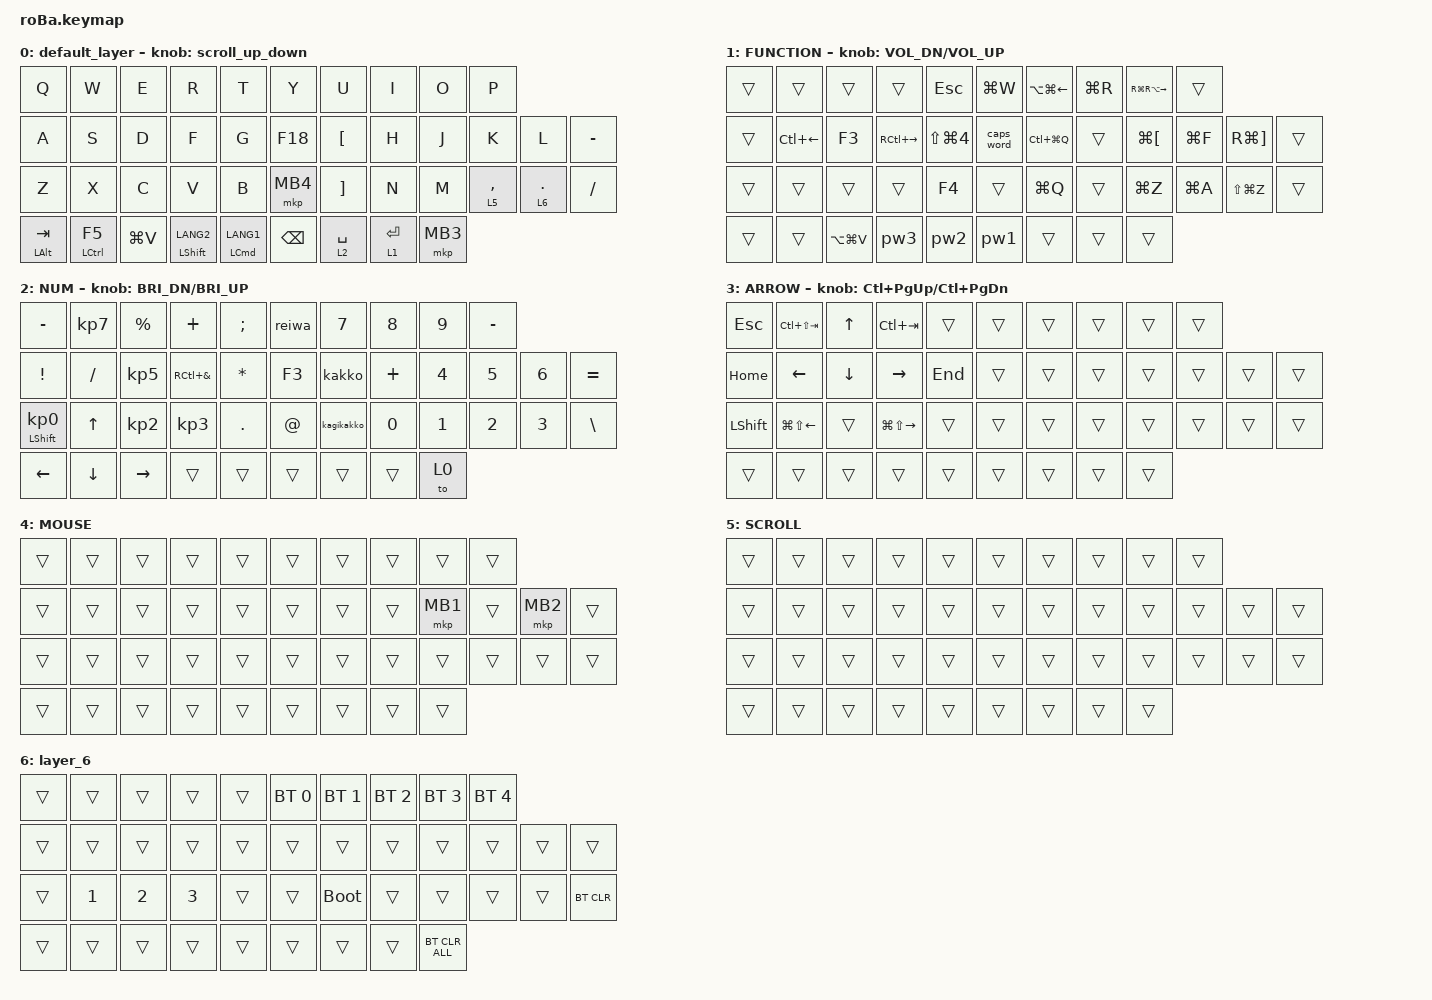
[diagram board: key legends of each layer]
#define ZMK_POINTING_DEFAULT_SCRL_VAL 100 //
#define MOUSE 4

#include <input/processors.dtsi>
#include <behaviors.dtsi>
#include <dt-bindings/zmk/bt.h>
#include <dt-bindings/zmk/keys.h>
#include <dt-bindings/zmk/pointing.h>

&mkp_input_listener { input-processors = <&zip_temp_layer 4 250>; };

#define SCROLL 5
#define NUM 6

&mt {
 flavor = "balanced";
 quick-tap-ms = <0>;
};

/ {
 combos {
   compatible = "zmk,combos";

   mouse_left_combo {
     timeout-ms = <45>;
     key-positions = <18 19>;
     layers = <0 4>;
     bindings = <&mkp MB1>;
     slow-release;
   };

   mouse_right_combo {
     timeout-ms = <45>;
     key-positions = <19 20>;
     layers = <0 4>;
     bindings = <&mkp MB2>;
     slow-release;
   };

   tab {
     bindings = <&kp TAB>;
     key-positions = <11 12>;
   };

   shift_tab {
     bindings = <&kp LS(TAB)>;
     key-positions = <12 13>;
   };

   muhennkann {
     bindings = <&kakko INT_MUHENKAN>;
     key-positions = <11 10>;
   };

   double_quotation {
     bindings = <&kp DOUBLE_QUOTES>;
     key-positions = <20 21>;
   };

   eq {
     bindings = <&kp EQUAL>;
     key-positions = <24 25>;
   };

   tesuto {
     bindings = <&kp C>;
     key-positions = <18 20>;
   };
 };

 macros {
   kakko: new_macro1 {
     compatible = "zmk,behavior-macro";
     #binding-cells = <0>;
     bindings = <&kp LANG1 &kp LEFT_BRACKET &kp RIGHT_BRACKET &kp RET &kp LEFT_ARROW>;
     label = "NEW_MACRO1";
   };

   kagikakko: new_macro2 {
     compatible = "zmk,behavior-macro";
     #binding-cells = <0>;
     bindings = <&kp LEFT_PARENTHESIS &kp RIGHT_PARENTHESIS &kp RET &kp LEFT_ARROW>;
     label = "NEW_MACRO2";
   };

   pw1: new_macro3 {
     compatible = "zmk,behavior-macro";
     #binding-cells = <0>;
     bindings = <&kp N &kp O &kp B &kp U &kp N6 &kp N9 &kp N5 &kp N7>;
     label = "NEW_MACRO3";
   };

   pw2: new_macro4 {
     compatible = "zmk,behavior-macro";
     #binding-cells = <0>;
     bindings = <&kp LS(B) &kp A &kp T &kp B &kp N3 &kp N3 &kp N5 &kp N5 &kp N3 &kp N3>;
     label = "NEW_MACRO4";
   };

   reiwa: new_macro {
     compatible = "zmk,behavior-macro";
     #binding-cells = <0>;
     bindings = <&kp LANG1 &kp R &kp E &kp I &kp W &kp A>;
     label = "NEW_MACRO";
   };

   pw3: pw3 {
     compatible = "zmk,behavior-macro";
     #binding-cells = <0>;
     bindings = <&kp LS(B) &kp A &kp T &kp B &kp N0 &kp NUMBER_2 &kp NUMBER_1 &kp NUMBER_1>;
     label = "PW3";
   };
 };

 behaviors {
   lt_to_layer_0: lt_to_layer_0 {
     compatible = "zmk,behavior-hold-tap";
     label = "LAYER_TAP_TO_0";
     bindings = <&mo>, <&kakko>;

     #binding-cells = <2>;
     tapping-term-ms = <200>;
   };

   // 追加: エンコーダの回転でスクロールする behavior

   scroll_up_down: behavior_sensor_rotate_mouse_wheel_up_down {
     compatible = "zmk,behavior-sensor-rotate";
     #sensor-binding-cells = <0>;
     bindings = <&msc SCRL_DOWN>, <&msc SCRL_UP>;

     tap-ms = <20>;
   };
 };

 keymap {
   compatible = "zmk,keymap";

   default_layer {
     bindings = <
&kp Q &kp W &kp E &kp R &kp T &kp Y &kp U &kp I &kp O &kp P
&kp A &kp S &kp D &kp F &kp G &kp F18 &kp LEFT_BRACKET &kp H &kp J &kp K &kp L &kp MINUS
&kp Z &kp X &kp C &kp V &kp B &mkp MB4 &kp RIGHT_BRACKET &kp N &kp M &lt 5 COMMA &lt 6 DOT &kp SLASH
&mt LEFT_ALT TAB &mt LEFT_CONTROL F5 &kp LG(V) &mt LEFT_SHIFT LANG2 &mt LEFT_COMMAND LANG1 &kp BACKSPACE &lt 2 SPACE &lt 1 RET &mkp MB3
     >;

     sensor-bindings = <&scroll_up_down>; // ← ここを変更
   };

   FUNCTION {
     bindings = <
&trans &trans &trans &trans &kp ESC &kp LG(W) &kp LA(LG(LEFT_ARROW)) &kp LG(R) &kp RG(RA(RIGHT_ARROW)) &trans
&trans &kp LC(LEFT_ARROW) &kp F3 &kp RC(RIGHT_ARROW) &kp LS(LG(NUMBER_4)) &caps_word &kp LC(LG(Q)) &trans &kp LG(LEFT_BRACKET) &kp LG(F) &kp RG(RIGHT_BRACKET) &trans
&trans &trans &trans &trans &kp F4 &trans &kp LG(Q) &trans &kp LG(Z) &kp LG(A) &kp LS(LG(Z)) &trans
&trans &trans &kp LA(LG(V)) &pw3 &pw2 &pw1 &trans &trans &trans
     >;

     sensor-bindings = <&inc_dec_kp C_VOL_DN C_VOL_UP>;
   };

   NUM {
     bindings = <
&kp MINUS &kp KP_NUMBER_7 &kp PERCENT &kp PLUS &kp SEMICOLON &reiwa &kp N7 &kp NUMBER_8 &kp NUMBER_9 &kp MINUS
&kp EXCL &kp SLASH &kp KP_NUMBER_5 &kp RC(AMPS) &kp ASTERISK &kp F3 &kakko &kp PLUS &kp NUMBER_4 &kp N5 &kp NUMBER_6 &kp EQUAL
&mt LEFT_SHIFT KP_NUMBER_0 &kp UP_ARROW &kp KP_NUMBER_2 &kp KP_NUMBER_3 &kp PERIOD &kp AT_SIGN &kagikakko &kp NUMBER_0 &kp NUMBER_1 &kp NUMBER_2 &kp NUMBER_3 &kp BACKSLASH
&kp LEFT_ARROW &kp DOWN_ARROW &kp RIGHT_ARROW &trans &trans &trans &trans &trans &to 0
     >;

     sensor-bindings = <&inc_dec_kp C_BRI_DN C_BRI_UP>;
   };

   ARROW {
     bindings = <
&kp ESCAPE &kp LC(LS(TAB)) &kp UP_ARROW &kp LC(TAB) &trans &trans &trans &trans &trans &trans
&kp HOME &kp LEFT_ARROW &kp DOWN_ARROW &kp RIGHT_ARROW &kp END &trans &trans &trans &trans &trans &trans &trans
&kp LEFT_SHIFT &kp LG(LS(LEFT_ARROW)) &trans &kp LG(LS(RIGHT_ARROW)) &trans &trans &trans &trans &trans &trans &trans &trans
&trans &trans &trans &trans &trans &trans &trans &trans &trans
     >;

     sensor-bindings = <&inc_dec_kp LC(PAGE_UP) LC(PAGE_DOWN)>;
   };

   MOUSE {
     bindings = <
&trans &trans &trans &trans &trans &trans &trans &trans &trans &trans
&trans &trans &trans &trans &trans &trans &trans &trans &mkp MB1 &trans &mkp MB2 &trans
&trans &trans &trans &trans &trans &trans &trans &trans &trans &trans &trans &trans
&trans &trans &trans &trans &trans &trans &trans &trans &trans
     >;
   };

   SCROLL {
     bindings = <
&trans &trans &trans &trans &trans &trans &trans &trans &trans &trans
&trans &trans &trans &trans &trans &trans &trans &trans &trans &trans &trans &trans
&trans &trans &trans &trans &trans &trans &trans &trans &trans &trans &trans &trans
&trans &trans &trans &trans &trans &trans &trans &trans &trans
     >;
   };

   layer_6 {
     bindings = <
&trans &trans &trans &trans &trans &bt BT_SEL 0 &bt BT_SEL 1 &bt BT_SEL 2 &bt BT_SEL 3 &bt BT_SEL 4
&trans &trans &trans &trans &trans &trans &trans &trans &trans &trans &trans &trans
&trans &kp NUMBER_1 &kp NUMBER_2 &kp NUMBER_3 &trans &trans &bootloader &trans &trans &trans &trans &bt BT_CLR
&trans &trans &trans &trans &trans &trans &trans &trans &bt BT_CLR_ALL
     >;
   };
 };
};
